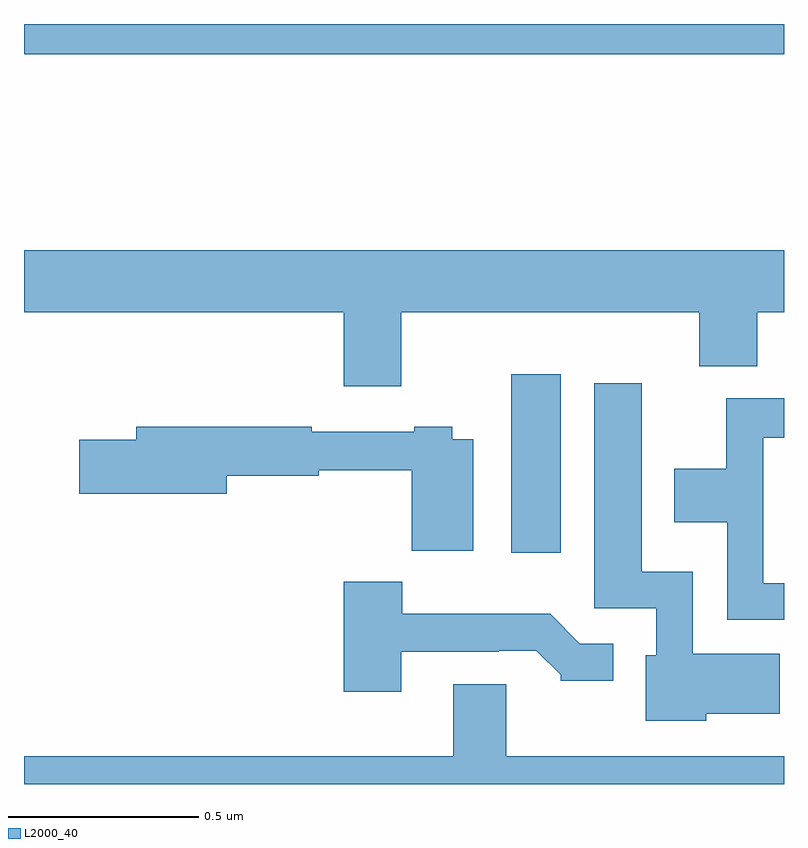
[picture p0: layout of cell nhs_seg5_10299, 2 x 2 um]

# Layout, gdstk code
import gdstk
lib = gdstk.Library(unit=1e-6, precision=1e-09)
def R(c, l, rs):  # rectangles x0, y0, x1, y1
    for r in rs: c.add(gdstk.rectangle(r[:2], r[2:], *l))
def P(c, l, *ps):  # polygons
    for p in ps: c.add(gdstk.Polygon(p, *l))
L2000_40 = (2000, 40)

nhs_seg5_10299 = lib.new_cell('nhs_seg5_10299')
R(nhs_seg5_10299, L2000_40, [(245.282,909.408,245.413,909.877), (244,910.72,246,910.799)])
P(nhs_seg5_10299, L2000_40, [(244.993,910.04),(245.777,910.04),(245.777,909.899),(245.929,909.899),(245.929,910.04),(246,910.04),(246,910.204),(244,910.204),(244,910.04),(244.841,910.04),(244.841,909.846),(244.993,909.846)],
  [(245.796,908.984),(245.989,908.984),(245.989,909.142),(245.76,909.142),(245.76,909.358),(245.626,909.358),(245.626,909.853),(245.501,909.853),(245.501,909.261),(245.664,909.261),(245.664,909.138),(245.636,909.138),(245.636,908.966),(245.796,908.966)],
  [(246,909.327),(245.946,909.327),(245.946,909.71),(246,909.71),(246,909.814),(245.848,909.814),(245.848,909.628),(245.711,909.628),(245.711,909.488),(245.85,909.488),(245.85,909.231),(246,909.231)],
  [(245.182,909.706),(245.127,909.706),(245.127,909.739),(245.027,909.739),(245.027,909.726),(244.757,909.726),(244.757,909.739),(244.295,909.739),(244.295,909.705),(244.146,909.705),(244.146,909.563),(244.534,909.563),(244.534,909.61),(244.776,909.61),(244.776,909.625),(245.02,909.625),(245.02,909.413),(245.182,909.413)],
  [(244.993,909.147),(245.249,909.147),(245.249,909.15),(245.348,909.15),(245.412,909.086),(245.412,909.071),(245.551,909.071),(245.551,909.168),(245.463,909.168),(245.385,909.247),(244.996,909.247),(244.996,909.331),(244.841,909.331),(244.841,909.042),(244.993,909.042)],
  [(246,908.872),(245.269,908.872),(245.269,909.062),(245.129,909.062),(245.129,908.872),(244,908.872),(244,908.799),(246,908.799)])

lib.write_gds('nhs_seg5_10299.gds')
